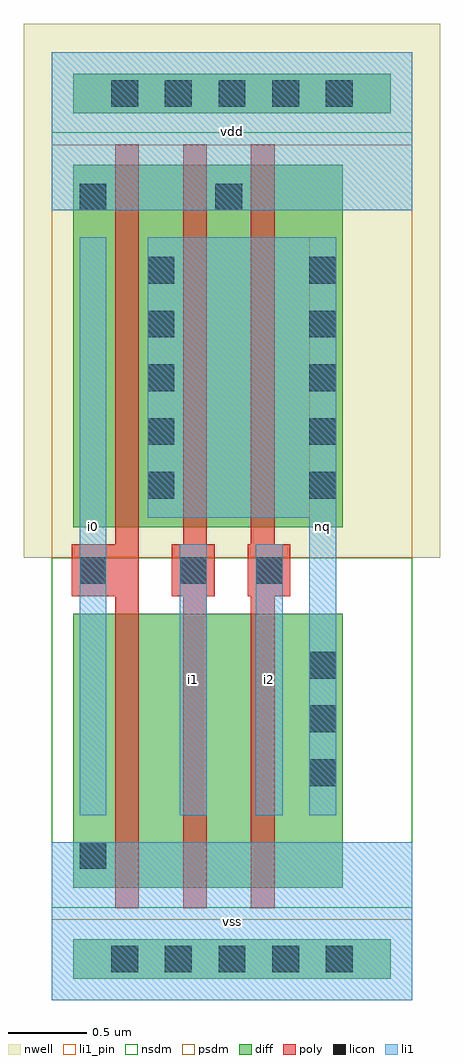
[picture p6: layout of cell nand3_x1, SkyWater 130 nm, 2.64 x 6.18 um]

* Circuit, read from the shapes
.subckt nand3_x1 i0 i1 i2 nq vdd vss
XM1 n1 i0 vss VSUBS sky130_fd_pr__nfet_01v8 w=1.735 l=0.15
XM2 n2 i1 n1 VSUBS sky130_fd_pr__nfet_01v8 w=1.735 l=0.15
XM3 nq i2 n2 VSUBS sky130_fd_pr__nfet_01v8 w=1.735 l=0.15
XM4 nq i0 vdd n3 sky130_fd_pr__pfet_01v8 w=2.295 l=0.15
XM5 vdd i1 nq n3 sky130_fd_pr__pfet_01v8 w=2.295 l=0.15
XM6 nq i2 vdd n3 sky130_fd_pr__pfet_01v8 w=2.295 l=0.15
.ends

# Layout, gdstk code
import gdstk
lib = gdstk.Library(unit=1e-6, precision=1e-09)
def R(c, l, rs):  # rectangles x0, y0, x1, y1
    for r in rs: c.add(gdstk.rectangle(r[:2], r[2:], *l))
def A(c, l, x, y, w, h, nx, ny, dx, dy):  # array of equal rectangles
    R(c, l, [(x+i*dx, y+j*dy, x+i*dx+w, y+j*dy+h) for i in range(nx) for j in range(ny)])
def P(c, l, *ps):  # polygons
    for p in ps: c.add(gdstk.Polygon(p, *l))
nwell = (64, 20)
diff = (65, 20)
poly = (66, 20)
licon = (66, 44)
li1_pin = (67, 16)
li1 = (67, 20)
nsdm = (93, 44)
psdm = (94, 20)

nand3_x1 = lib.new_cell('nand3_x1')
R(nand3_x1, nwell, [(-0.18,2.8,2.46,6.18)])
R(nand3_x1, diff, [(0.135,0.135,2.145,0.385), (0.135,0.71,1.84,2.445), (0.135,2.995,1.84,5.29), (0.135,5.615,2.145,5.865)])
P(nand3_x1, poly, [(0.4,0.58),(0.4,2.555),(0.125,2.555),(0.125,2.885),(0.4,2.885),(0.4,5.42),(0.55,5.42),(0.55,0.58)],
  [(0.83,0.58),(0.83,2.555),(0.76,2.555),(0.76,2.885),(0.83,2.885),(0.83,5.42),(0.98,5.42),(0.98,2.885),(1.03,2.885),(1.03,2.555),(0.98,2.555),(0.98,0.58)],
  [(1.26,0.58),(1.26,2.555),(1.24,2.555),(1.24,2.885),(1.26,2.885),(1.26,5.42),(1.41,5.42),(1.41,2.885),(1.51,2.885),(1.51,2.555),(1.41,2.555),(1.41,0.58)])
A(nand3_x1, licon, 0.375, 0.175, 0.17, 0.17, 5, 2, 0.34, 5.48)
A(nand3_x1, licon, 1.63, 1.355, 0.17, 0.17, 1, 3, 0, 0.34)
A(nand3_x1, licon, 0.605, 3.175, 0.17, 0.17, 1, 5, 0, 0.34)
A(nand3_x1, licon, 1.63, 3.175, 0.17, 0.17, 1, 5, 0, 0.34)
R(nand3_x1, licon, [(0.175,0.83,0.345,1), (0.175,2.635,0.345,2.805), (0.81,2.635,0.98,2.805), (1.29,2.635,1.46,2.805), (0.175,5,0.345,5.17), (1.035,5,1.205,5.17)])
R(nand3_x1, li1_pin, [(0,0,2.28,1), (0.175,1.17,0.345,4.83), (0.81,1.17,0.98,2.885), (1.29,1.17,1.46,2.885), (1.63,1.17,1.8,4.83), (0,5,2.28,6)])
R(nand3_x1, li1, [(0,0,2.28,1), (0.175,1.17,0.345,4.83), (0.81,1.17,0.98,2.885), (1.29,1.17,1.46,2.885), (0,5,2.28,6)])
P(nand3_x1, li1, [(1.63,1.17),(1.63,3.055),(0.605,3.055),(0.605,4.83),(1.8,4.83),(1.8,1.17)])
R(nand3_x1, nsdm, [(0,0.585,2.28,2.8), (0,5.49,2.28,6)])
R(nand3_x1, psdm, [(0,0,2.28,0.51), (0,2.8,2.28,5.415)])
nand3_x1.add(gdstk.Label('vss', (1.14,0.5), layer=67, texttype=16))
nand3_x1.add(gdstk.Label('vdd', (1.14,5.5), layer=67, texttype=16))
nand3_x1.add(gdstk.Label('i0', (0.26,3), layer=67, texttype=16))
nand3_x1.add(gdstk.Label('nq', (1.715,3), layer=67, texttype=16))
nand3_x1.add(gdstk.Label('i1', (0.895,2.027), layer=67, texttype=16))
nand3_x1.add(gdstk.Label('i2', (1.375,2.027), layer=67, texttype=16))

lib.write_gds('nand3_x1.gds')
